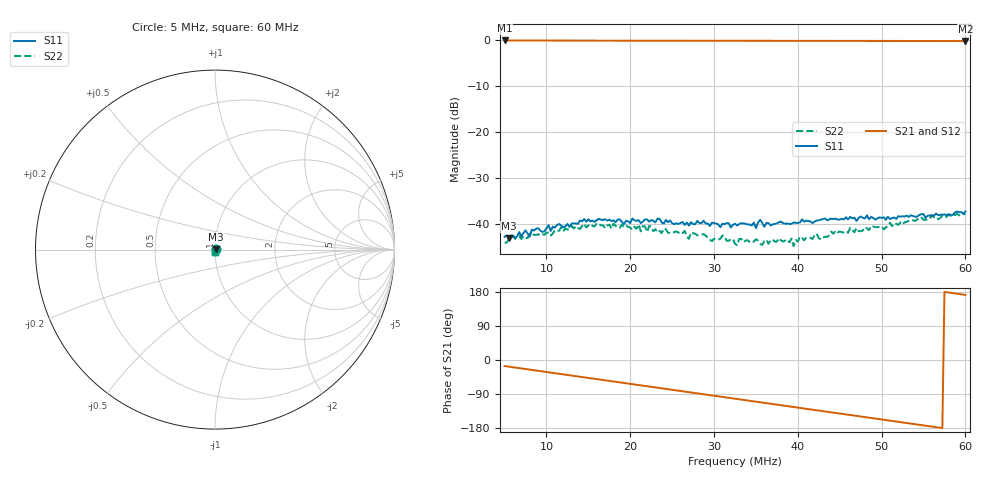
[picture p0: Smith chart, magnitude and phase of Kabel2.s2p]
#  HZ  S  DB  R  50.00
! Rohde & Schwarz ZVT8 8Ports - Version 4.11 - 1300.0000k08 SN: 100242
! Date: 2023-12-01 11:38:56
! Measurements: S11 S21 S12 S22
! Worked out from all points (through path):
!   221 points, 5 MHz to 60 MHz, reference 50 ohm
!   highest |S21| = -0.07 dB at 5 MHz (marker M1); lowest = -0.2 dB at 60 MHz (marker M2)
!   group delay of S21, straight-line fit = 8.7 ns
!   lowest |S11| = -43.0 dB at 5.5 MHz (marker M3), VSWR 1.01, Z = 50.7 + j0.111 ohm
!   |S11| at or under -10 dB: start of sweep to end of sweep
!   |S22| runs from -44.7 to -37.7 dB; largest |S21 - S12| = 0.0014
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5000000  -42.71 19.1  -0.07 -16.0  -0.06 -16.0  -44.00 17.0
5500000  -43.01 8.9  -0.07 -17.6  -0.07 -17.6  -43.30 6.5
1.425e7  -39.34 -38.0  -0.11 -45.0  -0.12 -45.0  -40.39 -35.3
2.1e7  -39.09 -60.5  -0.12 -66.1  -0.13 -66.1  -40.01 -62.6
2.125e7  -39.73 -62.6  -0.12 -66.9  -0.12 -66.9  -41.51 -62.3
2.15e7  -39.41 -62.9  -0.12 -67.7  -0.12 -67.6  -40.38 -62.8
2.35e7  -38.81 -68.4  -0.12 -73.9  -0.12 -73.9  -41.43 -65.5
2.65e7  -40.12 -75.8  -0.13 -83.3  -0.13 -83.3  -41.41 -70.1
2.7e7  -40.27 -76.1  -0.13 -84.9  -0.13 -84.9  -43.12 -76.2
2.725e7  -39.52 -77.4  -0.13 -85.7  -0.13 -85.7  -41.75 -73.1
2.875e7  -39.22 -81.1  -0.13 -90.4  -0.14 -90.4  -42.13 -74.1
2.975e7  -39.64 -82.8  -0.13 -93.5  -0.14 -93.5  -43.65 -71.6
3.1e7  -39.84 -80.8  -0.13 -97.4  -0.14 -97.4  -42.43 -71.7
3.25e7  -39.86 -88.5  -0.14 -102.1  -0.14 -102.1  -44.20 -72.9
3.925e7  -39.89 -93.1  -0.15 -123.3  -0.15 -123.3  -43.08 -69.7
3.95e7  -39.59 -90.8  -0.15 -124.1  -0.15 -124.1  -44.73 -71.6
4.025e7  -39.60 -93.8  -0.15 -126.4  -0.15 -126.4  -42.68 -69.2
4.175e7  -39.75 -91.8  -0.15 -131.1  -0.16 -131.1  -43.18 -62.8
4.625e7  -38.36 -92.1  -0.17 -145.2  -0.17 -145.2  -40.72 -69.8
5.025e7  -38.46 -88.4  -0.17 -157.7  -0.18 -157.7  -41.08 -71.0
5.1e7  -38.86 -86.4  -0.18 -160.1  -0.18 -160.0  -39.63 -75.6
6e7  -37.20 -84.8  -0.19 171.8  -0.19 171.8  -37.82 -86.5
